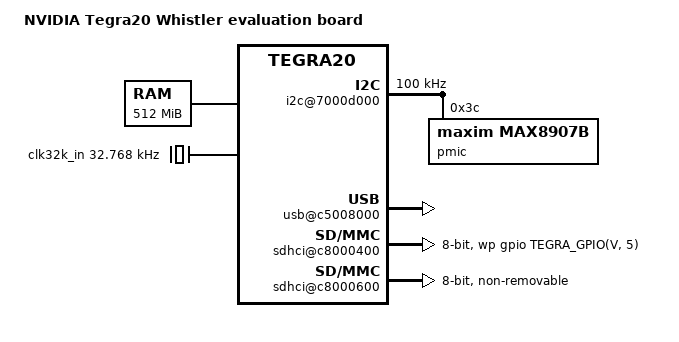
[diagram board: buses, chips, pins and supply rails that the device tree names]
/dts-v1/;

#include "tegra20.dtsi"

/ {
	model = "NVIDIA Tegra20 Whistler evaluation board";
	compatible = "nvidia,whistler", "nvidia,tegra20";

	chosen {
		stdout-path = &uarta;
	};

	aliases {
		i2c0 = "/i2c@7000d000";
		usb0 = "/usb@c5008000";
		mmc0 = "/sdhci@c8000600";
		mmc1 = "/sdhci@c8000400";
	};

	memory {
		device_type = "memory";
		reg = < 0x00000000 0x20000000 >;
	};

	serial@70006000 {
		clock-frequency = < 216000000 >;
	};

	i2c@7000d000 {
		status = "okay";
		clock-frequency = <100000>;

		pmic@3c {
			compatible = "maxim,max8907b";
			reg = <0x3c>;

			clk_32k: clock {
				compatible = "fixed-clock";
				/*
				 * leave out for now due to CPP:
				 * #clock-cells = <0>;
				 */
				clock-frequency = <32768>;
			};
		};
	};

	usb@c5008000 {
		status = "okay";
	};

	sdhci@c8000400 {
		status = "okay";
		wp-gpios = <&gpio TEGRA_GPIO(V, 5) GPIO_ACTIVE_HIGH>;
		bus-width = <8>;
	};

	sdhci@c8000600 {
		status = "okay";
		bus-width = <8>;
		non-removable;
	};

	clocks {
		compatible = "simple-bus";
		#address-cells = <1>;
		#size-cells = <0>;

		clk32k_in: clock@0 {
			compatible = "fixed-clock";
			reg=<0>;
			#clock-cells = <0>;
			clock-frequency = <32768>;
		};
	};

};
